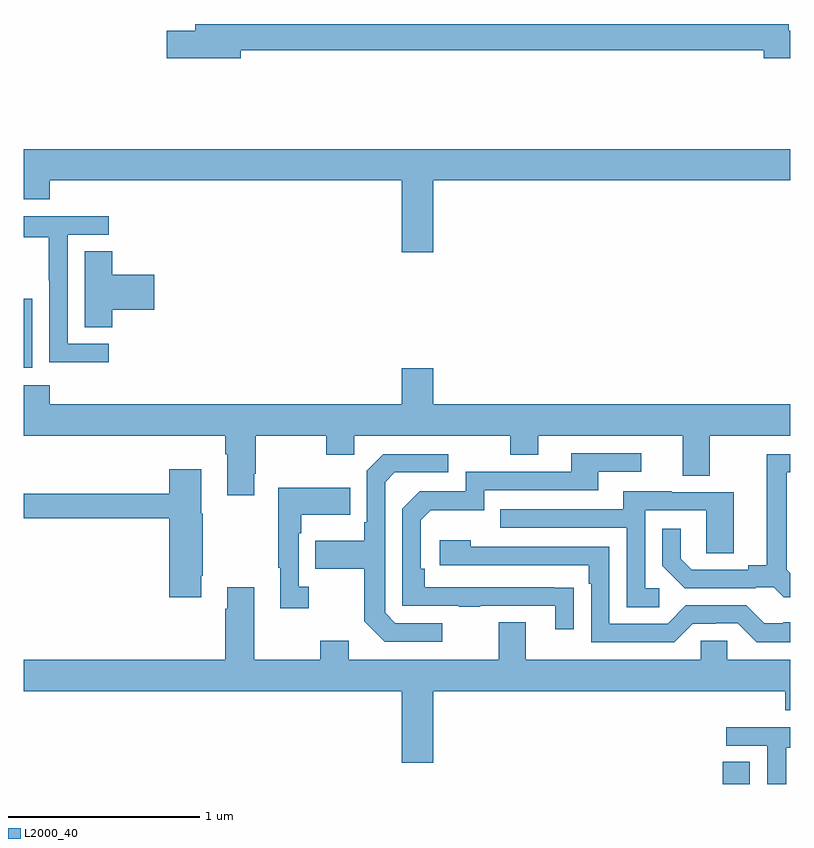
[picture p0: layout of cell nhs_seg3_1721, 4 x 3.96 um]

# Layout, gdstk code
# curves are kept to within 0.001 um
import gdstk
lib = gdstk.Library(unit=1e-6, precision=1e-09)
def R(c, l, rs):  # rectangles x0, y0, x1, y1
    for r in rs: c.add(gdstk.rectangle(r[:2], r[2:], *l))
def P(c, l, *ps):  # polygons
    for p in ps: c.add(gdstk.Polygon(p, *l))
L2000_40 = (2000, 40)

nhs_seg3_1721 = lib.new_cell('nhs_seg3_1721')
R(nhs_seg3_1721, L2000_40, [(202.646,732.4,202.789,732.515), (199,734.57,199.045,734.931)])
P(nhs_seg3_1721, L2000_40, [(200.134,736.228),(202.862,736.228),(202.862,736.186),(203,736.186),(203,736.328),(202.99,736.328),(202.99,736.364),(199.895,736.364),(199.895,736.328),(199.746,736.328),(199.746,736.186),(200.134,736.186)],
  [(201.136,735.548),(203,735.548),(203,735.712),(199,735.712),(199,735.449),(199.136,735.449),(199.136,735.548),(200.972,735.548),(200.972,735.174),(201.136,735.174)],
  [(199.444,734.697),(199.23,734.697),(199.23,735.264),(199.444,735.264),(199.444,735.36),(199,735.36),(199,735.252),(199.132,735.252),(199.132,735.028),(199.134,735.028),(199.134,734.599),(199.444,734.599)],
  [(199.463,734.873),(199.681,734.873),(199.681,735.056),(199.463,735.056),(199.463,735.179),(199.319,735.179),(199.319,734.782),(199.463,734.782)],
  [(200.203,734.017),(200.211,734.017),(200.211,734.216),(200.578,734.216),(200.578,734.117),(200.724,734.117),(200.724,734.216),(201.538,734.216),(201.538,734.117),(201.685,734.117),(201.685,734.216),(202.439,734.216),(202.439,734.008),(202.579,734.008),(202.579,734.216),(203,734.216),(203,734.38),(201.136,734.38),(201.136,734.569),(200.972,734.569),(200.972,734.38),(199.136,734.38),(199.136,734.479),(199,734.479),(199,734.216),(200.051,734.216),(200.051,734.12),(200.063,734.12),(200.063,733.905),(200.203,733.905)],
  [(201.869,733.424),(201.092,733.425),(201.092,733.522),(201.072,733.522),(201.072,733.776),(201.125,733.829),(201.402,733.829),(201.402,733.932),(201.997,733.932),(201.997,734.028),(202.222,734.028),(202.222,734.124),(201.857,734.124),(201.857,734.028),(201.306,734.028),(201.306,733.926),(201.066,733.926),(200.976,733.836),(200.976,733.329),(201.271,733.329),(201.271,733.324),(201.383,733.324),(201.383,733.329),(201.773,733.329),(201.773,733.206),(201.869,733.206)],
  [(201.184,733.239),(200.94,733.239),(200.886,733.293),(200.886,733.974),(200.937,734.025),(201.214,734.025),(201.214,734.121),(200.877,734.121),(200.79,734.034),(200.79,733.765),(200.778,733.765),(200.778,733.669),(200.521,733.669),(200.521,733.522),(200.778,733.522),(200.778,733.249),(200.883,733.143),(201.184,733.143)],
  [(203,733.498),(202.981,733.517),(202.981,734.025),(203,734.025),(203,734.121),(202.877,734.121),(202.877,733.541),(202.781,733.541),(202.781,733.518),(202.486,733.518),(202.429,733.575),(202.429,733.732),(202.332,733.732),(202.332,733.538),(202.448,733.422),(202.82,733.422),(202.82,733.425),(202.914,733.425),(202.966,733.373),(203,733.373)],
  [(199.927,733.486),(199.935,733.486),(199.935,733.809),(199.927,733.809),(199.927,734.041),(199.76,734.041),(199.76,733.915),(199,733.915),(199,733.786),(199.76,733.786),(199.76,733.374),(199.927,733.374)],
  [(200.488,733.43),(200.436,733.43),(200.436,733.709),(200.449,733.709),(200.449,733.805),(200.705,733.805),(200.705,733.945),(200.328,733.945),(200.328,733.529),(200.339,733.529),(200.339,733.317),(200.488,733.317)],
  [(202.315,733.422),(202.242,733.422),(202.242,733.827),(202.56,733.827),(202.56,733.603),(202.705,733.603),(202.705,733.923),(202.381,733.923),(202.381,733.927),(202.127,733.927),(202.127,733.833),(201.487,733.833),(201.487,733.737),(202.146,733.737),(202.146,733.321),(202.315,733.321)],
  [(203,733.243),(202.963,733.243),(202.963,733.239),(202.863,733.239),(202.77,733.332),(202.455,733.332),(202.359,733.236),(202.056,733.236),(202.056,733.638),(201.332,733.638),(201.332,733.672),(201.171,733.672),(201.171,733.542),(201.947,733.542),(201.947,733.445),(201.96,733.445),(201.96,733.14),(202.395,733.14),(202.491,733.236),(202.61,733.236),(202.61,733.239),(202.725,733.239),(202.825,733.139),(203,733.139)],
  [(201.136,732.884),(202.973,732.884),(202.973,732.785),(203,732.785),(203,733.048),(202.671,733.048),(202.671,733.146),(202.533,733.146),(202.533,733.048),(201.619,733.048),(201.619,733.243),(201.479,733.243),(201.479,733.048),(200.695,733.048),(200.695,733.147),(200.548,733.147),(200.548,733.048),(200.203,733.048),(200.203,733.426),(200.063,733.426),(200.063,733.313),(200.051,733.313),(200.051,733.048),(199,733.048),(199,732.884),(200.972,732.884),(200.972,732.51),(201.136,732.51)],
  [(202.977,732.588),(203,732.588),(203,732.696),(202.665,732.696),(202.665,732.6),(202.878,732.6),(202.878,732.4),(202.977,732.4)])

lib.write_gds('nhs_seg3_1721.gds')
